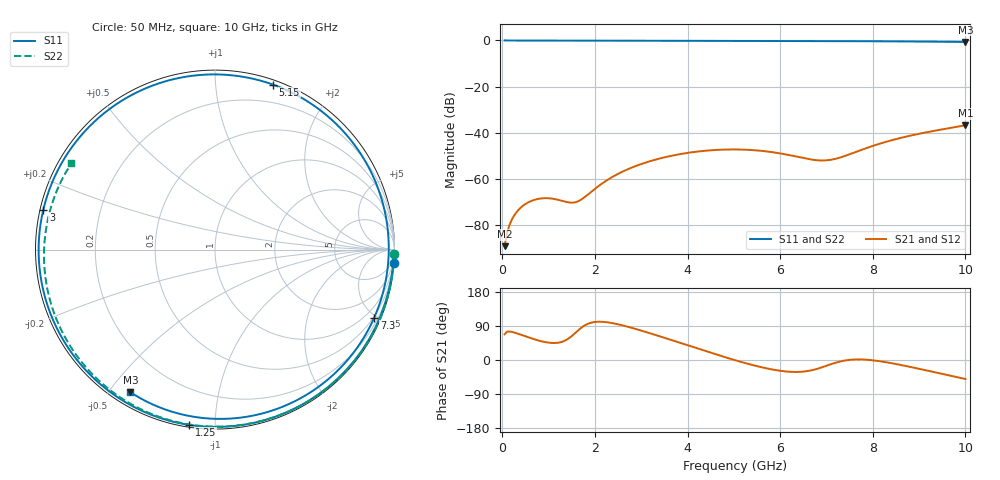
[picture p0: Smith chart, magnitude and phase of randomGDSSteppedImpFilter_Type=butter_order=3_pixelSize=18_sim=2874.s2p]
! freq	dB(S11)	phase(S11)	dB(S12)	phase(S12)
!  dB(S21)	phase(S21)	dB(S22)	phase(S22)
!S-par simulation data
#  GHz  S  DB  R 50
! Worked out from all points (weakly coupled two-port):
!   200 points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, 50 MHz to 10 GHz, reference 50 ohm
!   highest |S21| = -36.78 dB at 10 GHz (marker M1); lowest = -89.1 dB at 50 MHz (marker M2)
!   lowest |S11| = -0.7 dB at 10 GHz (marker M3), VSWR 25.24, Z = 2.62 - j28.4 ohm
!   |S11| at or under -10 dB: nowhere
!   |S22| runs from -0.6 to 0.0 dB; largest |S21 - S12| = 0
!   S11 on the Smith chart (normalised r, x): 50 MHz: 1, -28; 1.25 GHz: 0.01, -0.86; 3 GHz: 0.01, +0.11; 5.15 GHz: 0.04, +1.41; 7.3 GHz: 0.44, -4.83; 10 GHz: 0.05, -0.57
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0.05  -0.02 -4.2  -89.13 67.8  -89.13 67.8  -0.01 -1.3
0.15  -0.05 -12.8  -80.27 75.2  -80.27 75.2  -0.01 -3.8
0.35  -0.06 -29.9  -73.40 68.9  -73.40 68.9  -0.02 -8.8
0.65  -0.07 -54.5  -69.36 56.3  -69.36 56.3  -0.02 -16.3
0.95  -0.09 -77.4  -68.34 46.7  -68.34 46.7  -0.03 -23.7
1.25  -0.11 -98.4  -69.28 46.6  -69.28 46.6  -0.04 -31.1
1.55  -0.12 -117.6  -70.21 68.6  -70.21 68.6  -0.05 -38.4
1.75  -0.13 -129.5  -68.32 89.1  -68.32 89.1  -0.05 -43.2
2.35  -0.14 -161.8  -59.47 97.9  -59.47 97.9  -0.07 -57.3
3  -0.16 167.0  -53.55 77.7  -53.55 77.7  -0.09 -71.9
3.4  -0.17 148.8  -51.16 62.5  -51.16 62.5  -0.10 -80.7
4.25  -0.19 110.9  -48.07 29.0  -48.07 29.0  -0.13 -98.6
4.65  -0.21 93.1  -47.41 13.5  -47.41 13.5  -0.15 -106.7
5.05  -0.22 75.2  -47.24 -1.4  -47.24 -1.4  -0.17 -114.6
5.15  -0.22 70.7  -47.28 -4.9  -47.28 -4.9  -0.17 -116.5
5.95  -0.25 34.7  -48.78 -27.5  -48.78 -27.5  -0.22 -131.9
6.7  -0.28 1.9  -51.69 -26.6  -51.69 -26.6  -0.27 -146.0
7.3  -0.31 -23.2  -50.70 -3.8  -50.70 -3.8  -0.32 -157.2
7.85  -0.36 -44.9  -46.74 0.9  -46.74 0.9  -0.36 -167.5
8.35  -0.41 -63.7  -43.57 -7.2  -43.57 -7.2  -0.41 -177.0
9.15  -0.52 -92.0  -39.85 -27.2  -39.85 -27.2  -0.49 167.3
10  -0.69 -120.7  -36.78 -50.1  -36.78 -50.1  -0.60 149.0
